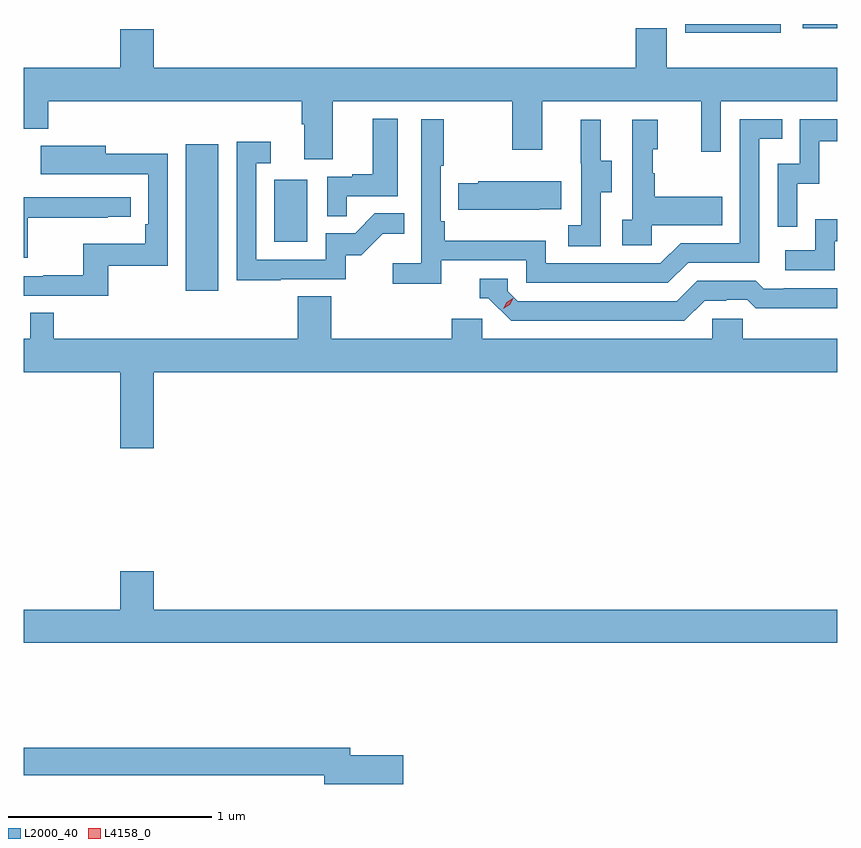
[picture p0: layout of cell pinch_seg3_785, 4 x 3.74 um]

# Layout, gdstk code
import gdstk
lib = gdstk.Library(unit=1e-6, precision=1e-09)
def R(c, l, rs):  # rectangles x0, y0, x1, y1
    for r in rs: c.add(gdstk.rectangle(r[:2], r[2:], *l))
def P(c, l, *ps):  # polygons
    for p in ps: c.add(gdstk.Polygon(p, *l))
L2000_40 = (2000, 40)
L4158_0 = (4158, 0)

pinch_seg3_785 = lib.new_cell('pinch_seg3_785')
R(pinch_seg3_785, L2000_40, [(824.669,725.292,824.83,726.013), (825.104,725.532,825.268,725.839), (827.126,726.56,827.596,726.604), (827.705,726.582,827.873,726.604)])
P(pinch_seg3_785, L2000_40, [(825.391,726.224),(826.276,726.224),(826.276,725.985),(826.423,725.985),(826.423,726.224),(827.204,726.224),(827.204,725.976),(827.301,725.976),(827.301,726.224),(827.873,726.224),(827.873,726.388),(827.035,726.388),(827.035,726.583),(826.883,726.583),(826.883,726.388),(824.512,726.388),(824.512,726.577),(824.348,726.577),(824.348,726.388),(823.873,726.388),(823.873,726.089),(823.994,726.089),(823.994,726.224),(825.239,726.224),(825.239,726.112),(825.251,726.112),(825.251,725.938),(825.391,725.938)],
  [(825.461,725.757),(825.712,725.757),(825.712,726.139),(825.59,726.139),(825.59,725.866),(825.487,725.866),(825.487,725.853),(825.366,725.853),(825.366,725.659),(825.461,725.659)],
  [(825.926,725.442),(826.344,725.442),(826.344,725.331),(827.041,725.331),(827.14,725.43),(827.49,725.43),(827.49,726.039),(827.603,726.039),(827.603,726.135),(827.394,726.135),(827.394,725.526),(827.103,725.526),(827.004,725.427),(826.44,725.427),(826.44,725.539),(825.944,725.539),(825.944,725.635),(825.924,725.635),(825.924,725.908),(825.937,725.908),(825.937,726.136),(825.828,726.136),(825.828,725.428),(825.687,725.428),(825.687,725.326),(825.926,725.326)],
  [(827.676,725.819),(827.786,725.819),(827.786,726.027),(827.873,726.027),(827.873,726.135),(827.688,726.135),(827.688,725.916),(827.58,725.916),(827.58,725.607),(827.676,725.607)],
  [(826.71,725.776),(826.765,725.776),(826.765,725.931),(826.711,725.931),(826.711,726.133),(826.613,726.133),(826.613,725.919),(826.614,725.919),(826.614,725.615),(826.551,725.615),(826.551,725.512),(826.71,725.512)],
  [(826.962,725.615),(827.309,725.615),(827.309,725.755),(826.975,725.755),(826.975,725.87),(826.965,725.87),(826.965,725.988),(826.99,725.988),(826.99,726.133),(826.866,726.133),(826.866,725.642),(826.815,725.642),(826.815,725.517),(826.962,725.517)],
  [(825.137,725.349),(825.456,725.349),(825.456,725.466),(825.532,725.466),(825.639,725.573),(825.743,725.573),(825.743,725.672),(825.6,725.672),(825.502,725.574),(825.357,725.574),(825.357,725.445),(825.015,725.445),(825.015,725.919),(825.088,725.919),(825.088,726.025),(824.919,726.025),(824.919,725.344),(825.137,725.344)],
  [(824.287,725.415),(824.58,725.415),(824.58,725.966),(824.275,725.966),(824.275,726.004),(823.957,726.004),(823.957,725.864),(824.171,725.864),(824.171,725.865),(824.484,725.865),(824.484,725.62),(824.471,725.62),(824.471,725.524),(824.166,725.524),(824.166,725.369),(823.969,725.369),(823.969,725.364),(823.873,725.364),(823.873,725.268),(824.287,725.268)],
  [(826.409,725.693),(826.517,725.693),(826.517,725.83),(826.107,725.83),(826.107,725.82),(826.009,725.82),(826.009,725.69),(826.409,725.69)],
  [(823.892,725.65),(824.285,725.65),(824.285,725.655),(824.398,725.655),(824.398,725.751),(823.873,725.751),(823.873,725.454),(823.892,725.454)],
  [(827.862,725.535),(827.873,725.535),(827.873,725.644),(827.766,725.644),(827.766,725.49),(827.619,725.49),(827.619,725.394),(827.862,725.394)],
  [(827.221,725.244),(827.328,725.244),(827.328,725.247),(827.431,725.247),(827.473,725.205),(827.706,725.205),(827.706,725.207),(827.873,725.207),(827.873,725.304),(827.611,725.304),(827.611,725.301),(827.512,725.301),(827.473,725.34),(827.184,725.34),(827.085,725.241),(826.302,725.241),(826.254,725.289),(826.254,725.352),(826.115,725.352),(826.115,725.256),(826.158,725.256),(826.269,725.145),(827.122,725.145)],
  [(824.512,724.892),(827.873,724.892),(827.873,725.056),(827.409,725.056),(827.409,725.154),(827.259,725.154),(827.259,725.056),(826.128,725.056),(826.128,725.154),(825.977,725.154),(825.977,725.056),(825.386,725.056),(825.386,725.264),(825.221,725.264),(825.221,725.056),(824.021,725.056),(824.021,725.183),(823.905,725.183),(823.905,725.056),(823.873,725.056),(823.873,724.892),(824.348,724.892),(824.348,724.518),(824.512,724.518)],
  [(827.873,723.724),(824.512,723.724),(824.512,723.913),(824.348,723.913),(824.348,723.724),(823.873,723.724),(823.873,723.56),(827.873,723.56)],
  [(825.739,723.008),(825.478,723.008),(825.478,723.044),(823.873,723.044),(823.873,722.908),(825.35,722.908),(825.35,722.866),(825.739,722.866)])
P(pinch_seg3_785, L4158_0, [(826.231,725.203),(826.231,725.203),(826.248,725.235),(826.278,725.254),(826.279,725.254),(826.279,725.254),(826.262,725.222),(826.232,725.203)])

lib.write_gds('pinch_seg3_785.gds')
